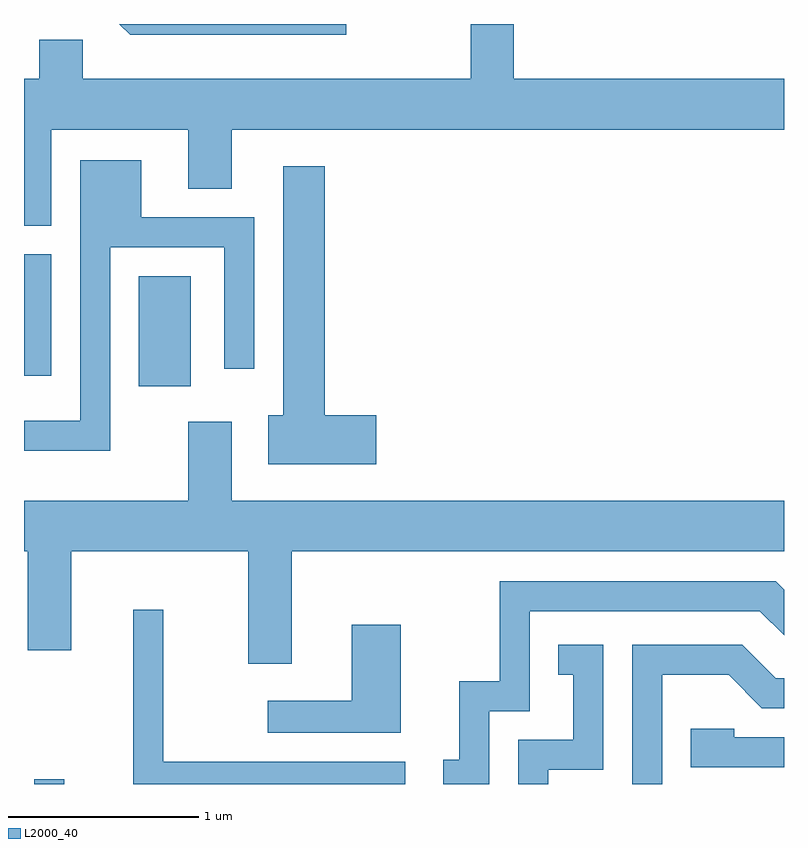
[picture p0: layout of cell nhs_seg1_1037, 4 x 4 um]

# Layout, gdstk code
import gdstk
lib = gdstk.Library(unit=1e-6, precision=1e-09)
def R(c, l, rs):  # rectangles x0, y0, x1, y1
    for r in rs: c.add(gdstk.rectangle(r[:2], r[2:], *l))
def P(c, l, *ps):  # polygons
    for p in ps: c.add(gdstk.Polygon(p, *l))
L2000_40 = (2000, 40)

nhs_seg1_1037 = lib.new_cell('nhs_seg1_1037')
R(nhs_seg1_1037, L2000_40, [(217.666,871.712,217.824,871.738), (218.216,873.806,218.489,874.384), (217.611,873.861,217.754,874.499)])
P(nhs_seg1_1037, L2000_40, [(217.754,875.156),(218.476,875.156),(218.476,874.846),(218.704,874.846),(218.704,875.156),(221.611,875.156),(221.611,875.424),(220.189,875.424),(220.189,875.712),(219.961,875.712),(219.961,875.424),(217.919,875.424),(217.919,875.629),(217.691,875.629),(217.691,875.424),(217.611,875.424),(217.611,874.651),(217.754,874.651)],
  [(219.308,875.712),(218.113,875.712),(218.169,875.656),(219.308,875.656)],
  [(218.064,874.536),(218.666,874.536),(218.666,873.898),(218.824,873.898),(218.824,874.694),(218.229,874.694),(218.229,874.994),(217.906,874.994),(217.906,873.624),(217.611,873.624),(217.611,873.466),(218.064,873.466)],
  [(219.464,873.654),(219.194,873.654),(219.194,874.964),(218.976,874.964),(218.976,873.654),(218.896,873.654),(218.896,873.396),(219.464,873.396)],
  [(219.019,872.936),(221.611,872.936),(221.611,873.204),(218.704,873.204),(218.704,873.619),(218.476,873.619),(218.476,873.204),(217.611,873.204),(217.611,872.936),(217.631,872.936),(217.631,872.416),(217.859,872.416),(217.859,872.936),(218.791,872.936),(218.791,872.346),(219.019,872.346)],
  [(220.059,872.096),(220.274,872.096),(220.274,872.621),(221.484,872.621),(221.611,872.494),(221.611,872.735),(221.567,872.779),(220.116,872.779),(220.116,872.254),(219.901,872.254),(219.901,871.839),(219.818,871.839),(219.818,871.712),(220.059,871.712)],
  [(219.618,871.829),(218.344,871.829),(218.344,872.628),(218.186,872.628),(218.186,871.712),(219.618,871.712)],
  [(219.594,872.549),(219.336,872.549),(219.336,872.149),(218.893,872.149),(218.893,871.981),(219.594,871.981)],
  [(220.369,871.786),(220.659,871.786),(220.659,872.444),(220.423,872.444),(220.423,872.286),(220.501,872.286),(220.501,871.944),(220.211,871.944),(220.211,871.712),(220.369,871.712)],
  [(220.969,872.286),(221.319,872.286),(221.494,872.111),(221.611,872.111),(221.611,872.269),(221.567,872.269),(221.392,872.444),(220.811,872.444),(220.811,871.712),(220.969,871.712)],
  [(221.611,871.959),(221.349,871.959),(221.349,872.004),(221.121,872.004),(221.121,871.801),(221.611,871.801)])

lib.write_gds('nhs_seg1_1037.gds')
